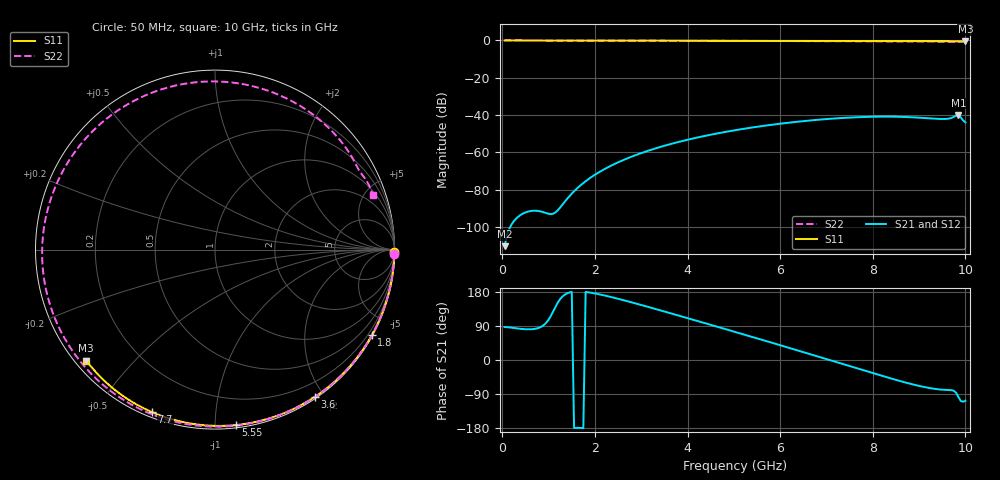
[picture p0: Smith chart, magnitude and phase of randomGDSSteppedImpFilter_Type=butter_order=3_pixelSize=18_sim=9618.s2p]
! freq	dB(S11)	phase(S11)	dB(S12)	phase(S12)
!  dB(S21)	phase(S21)	dB(S22)	phase(S22)
!S-par simulation data
#  GHz  S  DB  R 50
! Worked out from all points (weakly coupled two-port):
!   200 points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, 50 MHz to 10 GHz, reference 50 ohm
!   highest |S21| = -39.98 dB at 9.85 GHz (marker M1); lowest = -110.3 dB at 50 MHz (marker M2)
!   lowest |S11| = -0.5 dB at 10 GHz (marker M3), VSWR 37.06, Z = 1.54 - j18.6 ohm
!   |S11| at or under -10 dB: nowhere
!   |S22| runs from -0.8 to 0.0 dB; largest |S21 - S12| = 0
!   S11 on the Smith chart (normalised r, x): 50 MHz: open; 1.8 GHz: 0.03, -3.92; 3.6 GHz: 0.02, -1.88; 5.55 GHz: 0.02, -1.12; 7.7 GHz: 0.02, -0.69; 10 GHz: 0.03, -0.37
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0.05  -0.00 -0.8  -110.31 86.9  -110.31 86.9  -0.00 -1.5
0.75  -0.01 -12.1  -91.36 83.4  -91.36 83.4  -0.03 -22.1
1.55  -0.03 -24.7  -80.87 -179.4  -80.87 -179.4  -0.06 -45.2
1.75  -0.04 -27.9  -76.44 -179.7  -76.44 -179.7  -0.06 -50.9
1.8  -0.04 -28.6  -75.47 179.6  -75.47 179.6  -0.07 -52.3
2.1  -0.04 -33.3  -70.49 173.2  -70.49 173.2  -0.08 -60.8
2.5  -0.05 -39.4  -65.36 161.6  -65.36 161.6  -0.09 -72.0
3.4  -0.07 -52.9  -57.19 131.5  -57.19 131.5  -0.13 -96.7
3.6  -0.08 -55.9  -55.78 124.5  -55.78 124.5  -0.14 -102.1
4.3  -0.09 -66.0  -51.57 99.9  -51.57 99.9  -0.17 -121.2
5.05  -0.12 -76.5  -48.04 73.2  -48.04 73.2  -0.22 -142.1
5.55  -0.14 -83.3  -46.11 55.3  -46.11 55.3  -0.26 -156.5
6.15  -0.16 -91.3  -44.19 33.6  -44.19 33.6  -0.31 -174.8
6.7  -0.19 -98.5  -42.78 13.5  -42.78 13.5  -0.37 167.1
7.2  -0.22 -104.9  -41.79 -5.0  -41.79 -5.0  -0.42 149.1
7.7  -0.25 -111.1  -41.13 -23.5  -41.13 -23.5  -0.47 129.5
8.35  -0.31 -119.2  -40.85 -47.2  -40.85 -47.2  -0.54 101.1
8.7  -0.34 -123.5  -41.04 -59.2  -41.04 -59.2  -0.58 84.5
9.05  -0.37 -127.7  -41.47 -69.7  -41.47 -69.7  -0.61 67.1
9.6  -0.43 -134.4  -42.04 -79.0  -42.04 -79.0  -0.68 39.0
9.85  -0.46 -137.4  -39.98 -97.8  -39.98 -97.8  -0.73 27.2
10  -0.47 -139.2  -43.95 -107.8  -43.95 -107.8  -0.62 19.2
